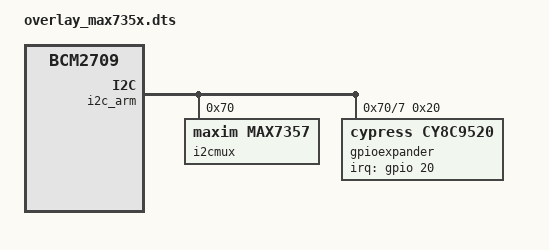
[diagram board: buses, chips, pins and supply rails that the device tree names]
// Definitions for NXP PCA9548A I2C mux on ARM I2C bus. Two muxes supported
/dts-v1/;
/plugin/;

/{
        compatible = "brcm,bcm2835", "brcm,bcm2836", "brcm,bcm2708", "brcm,bcm2709";

	fragment@0 {
		target = <&i2c_arm>;
		__overlay__ {
			#address-cells = <1>;
			#size-cells = <0>;
			status = "okay";

			i2cmux: mux@70 {
				compatible = "maxim,max7357";
				reg = <0x70>;
				#address-cells = <1>;
				#size-cells = <0>;

				i2c@0 {
					#address-cells = <1>;
					#size-cells = <0>;
					reg = <0>;
				};
				i2c@1 {
					#address-cells = <1>;
					#size-cells = <0>;
					reg = <1>;
				};
				i2c@2 {
					#address-cells = <1>;
					#size-cells = <0>;
					reg = <2>;
				};
				i2c@3 {
					#address-cells = <1>;
					#size-cells = <0>;
					reg = <3>;
				};
				i2c@4 {
					#address-cells = <1>;
					#size-cells = <0>;
					reg = <4>;
				};
				i2c@5 {
					#address-cells = <1>;
					#size-cells = <0>;
					reg = <5>;
				};
				i2c@6 {
					#address-cells = <1>;
					#size-cells = <0>;
					reg = <6>;
				};
				i2c@7 {
					#address-cells = <1>;
					#size-cells = <0>;
					reg = <7>;
					gpioexpander: gpo@20 {
						compatible = "cypress,cy8c9520";
						reg = <0x20>;
						gpio-controller;
						#gpio-cells = <2>;
						#interrupt-cells=<2>;
						interrupt-parent = <&gpio>;
						interrupts = <20 1>;
						interrupt-controller;
						status = "okay";
					};
				};
			};
		};
	};

	fragment@1 {
		target = <&gpio>;
		__overlay__ {
			gpioexpander_pins: gpioexpander_pins {
				brcm,pins = <20>;
				brcm,function = <0>;
				brcm,pull = <0>; /* none */
			};
		};
	};
	__overrides__ {
		gpiopin = <&gpioexpander_pins>,"brcm,pins:0",
				<&gpioexpander>,"interrupts:0";
		addr = <&i2cmux>,"reg:0",
			<&gpioexpander>, "reg:0";
	};
};
